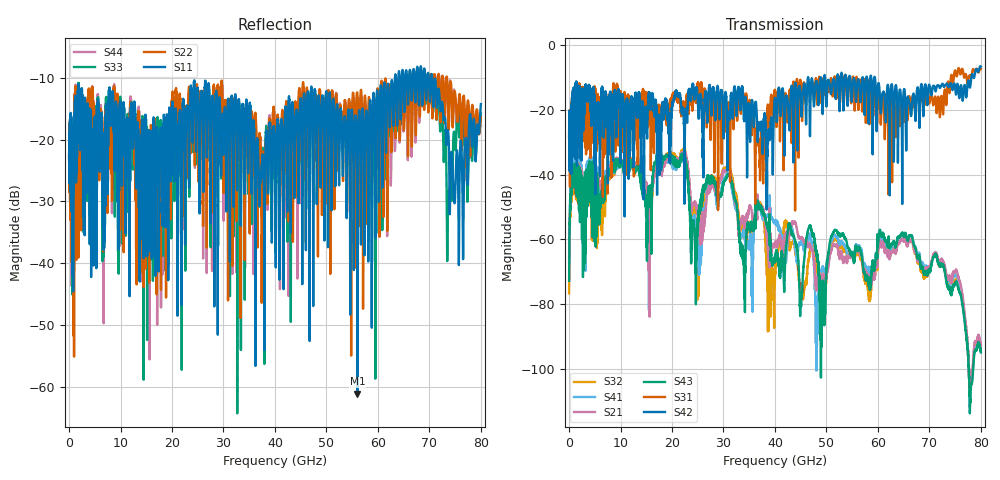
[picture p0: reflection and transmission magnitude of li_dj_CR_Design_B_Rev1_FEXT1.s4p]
! Intel Corp. Fri Apr 28 09:31:52 2023
! Port Configuration:
! Port 1 --|  |-- Port 2
! Port 3 --|  |-- Port 4
! Reference: li_dj_CR_Design_B_Rev1_reference.pdf
# HZ S DB R 50.00
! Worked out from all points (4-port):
!   8000 points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, 10 MHz to 80 GHz, reference 50 ohm
!   strongest paths, dB at 10 MHz, 20.01 GHz, 40.01 GHz, 60.01 GHz, 80 GHz:
!     S42: -28.7, -19.1, -16.5, -12.4, -6.6
!     S31: -28.7, -15.8, -14.5, -15.7, -7.3
!     S43: -72.8, -35.8, -65.9, -61.9, -95.0
!     S21: -65.8, -36.1, -61.8, -64.7, -92.9
!     S41: -67.8, -37.5, -54.3, -62.4, -94.5
!     S32: -76.7, -34.7, -70.0, -64.3, -93.4
!   lowest |S11| = -61.1 dB at 56.03 GHz (marker M1), VSWR 1.00, Z = 50.1 - j0.019 ohm
!   |S11| at or under -10 dB: start of sweep to 63.31 GHz; 63.48 GHz to 63.97 GHz (484.5 MHz wide, 0.76 % of centre); 70.55 GHz to end of sweep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
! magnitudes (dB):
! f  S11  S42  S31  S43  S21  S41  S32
! 10 MHz  -22.9  -28.7  -28.7  -72.8  -65.8  -67.8  -76.7
! 17.51 GHz  -31.6  -25.1  -19.5  -31.3  -33.3  -33.0  -31.4
! 24.57 GHz  -17.6  -14.3  -15.4  -67.1  -49.6  -54.7  -53.5
! 30.97 GHz  -13.9  -20.7  -17.8  -40.2  -38.3  -40.2  -37.6
! 39.57 GHz  -21.4  -39.9  -22.4  -67.5  -62.0  -54.2  -70.6
! 56.03 GHz  -61.1  -11.2  -12.6  -63.6  -63.7  -62.6  -64.7
! 80 GHz  -14.3  -6.6  -7.3  -95.0  -92.9  -94.5  -93.4
